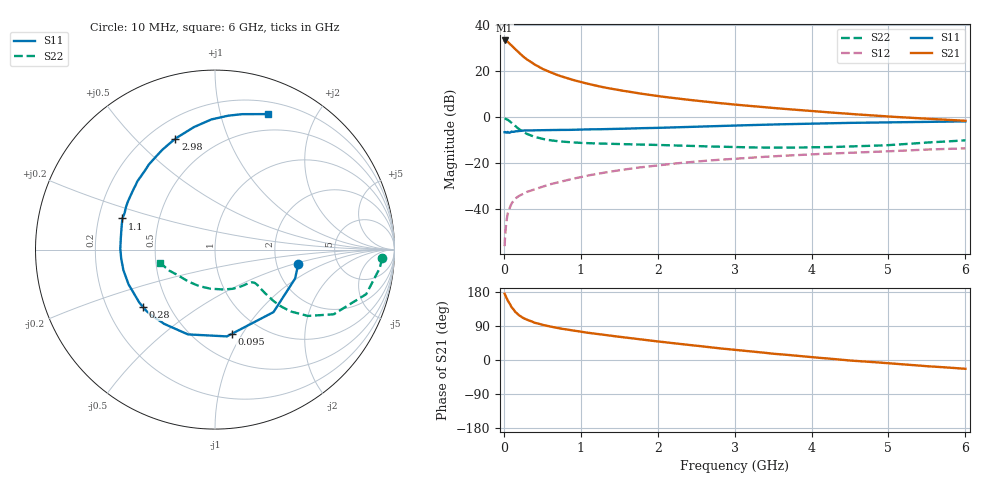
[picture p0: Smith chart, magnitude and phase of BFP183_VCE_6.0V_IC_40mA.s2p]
! Infineon Technologies  Discrete & RF Semiconductors
! BFP183
! VCE = 6.0 V,  IC =  40 mA
! Common Emitter S-Parameters:  Jan 2016
# GHz  S  MA  R  50
!  f  S11  S21  S12  S22
! GHz  MAG  ANG  MAG  ANG  MAG  ANG  MAG  ANG
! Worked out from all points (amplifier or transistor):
!   210 points, 10 MHz to 6 GHz, reference 50 ohm
!   highest |S21| = 33.2 dB at 10 MHz (marker M1)
!   |S21| within 3 dB of that: start of sweep to 125.8 MHz
!   unconditionally stable (mu >= 1): 622.6 MHz to 5.853 GHz
!   at 185 MHz: K = 0.51, MSG = 31.4 dB, |S12| = -34.4 dB
!   at 1.52 GHz: K = 1.18, MAG = 14.7 dB, |S12| = -22.9 dB
!   at 6 GHz: K = 0.98, MSG = 6.0 dB, |S12| = -13.5 dB
!   S11 on the Smith chart (normalised r, x): 10 MHz: 2.66, -0.53; 95 MHz: 0.74, -0.90; 280 MHz: 0.36, -0.31; 1.1 GHz: 0.30, +0.15; 2.98 GHz: 0.30, +0.66; 6 GHz: 0.32, +1.41
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0.01  0.471 -9.5  45.76 174.9  0.0016 87.2  0.9334 -3.0
0.02  0.4745 -19.9  45.49 170.6  0.0032 85.0  0.9231 -6.5
0.05  0.477 -46.9  42.96 157.1  0.0081 76.8  0.8782 -16.4
0.095  0.479 -78.9  36.4 141.5  0.0128 61.9  0.7639 -27.2
0.1  0.4881 -82.2  35.87 139.4  0.0134 60.9  0.7531 -28.6
0.15  0.4959 -107.7  29.53 126.5  0.0173 55.0  0.6349 -35.6
0.195  0.4989 -122.7  24.98 118.6  0.0195 53.2  0.5543 -38.8
0.24  0.5093 -134.0  21.36 112.4  0.0213 52.2  0.4939 -40.5
0.28  0.5128 -141.6  18.89 108.2  0.0231 51.5  0.4524 -41.1
0.3  0.5147 -145.1  17.78 106.1  0.024 51.2  0.4332 -41.3
0.4  0.5191 -158.1  13.81 98.4  0.0272 52.8  0.3731 -41.1
0.5  0.523 -167.3  11.16 92.8  0.0309 53.6  0.3375 -40.6
0.7  0.5276 179.5  8.083 84.3  0.0384 56.7  0.3004 -39.8
1.02  0.5384 164.6  5.632 74.1  0.0509 57.9  0.2756 -41.4
1.1  0.5443 161.4  5.237 71.7  0.0545 57.7  0.2722 -42.0
1.5  0.557 148.2  3.839 61.1  0.0706 56.4  0.2605 -47.2
2.02  0.5861 132.5  2.827 48.6  0.0908 52.4  0.2491 -56.9
2.98  0.6561 109.6  1.883 27.2  0.1251 43.6  0.2245 -81.2
3.1  0.6634 107.2  1.806 25.0  0.1288 42.4  0.2219 -84.8
4.1  0.7294 90.1  1.315 5.8  0.1588 33.0  0.2223 -117.0
5.1  0.7727 77.6  1.007 -10.0  0.1847 25.0  0.253 -146.1
6  0.8097 68.8  0.832 -23.2  0.2104 16.6  0.314 -166.4
